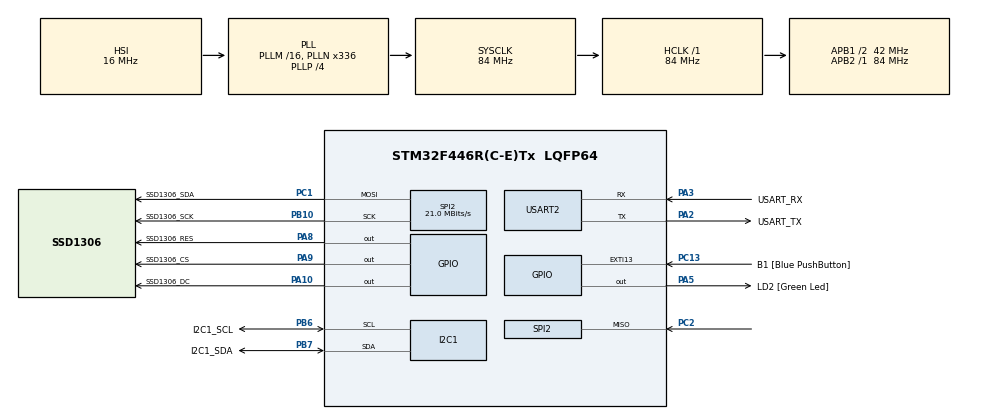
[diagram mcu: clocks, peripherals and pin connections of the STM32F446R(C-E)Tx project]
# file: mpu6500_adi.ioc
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Mcu.Family=STM32F4
Mcu.Name=STM32F446R(C-E)Tx
Mcu.Package=LQFP64
NVIC.PriorityGroup=NVIC_PRIORITYGROUP_0
PA10.GPIO_Label=SSD1306_DC
PA10.Signal=GPIO_Output
PA13.GPIO_Label=TMS
PA13.Mode=Serial_Wire
PA13.Signal=SYS_JTMS-SWDIO
PA14.GPIO_Label=TCK
PA14.Mode=Serial_Wire
PA14.Signal=SYS_JTCK-SWCLK
PA2.GPIO_Label=USART_TX
PA2.Mode=Asynchronous
PA2.Signal=USART2_TX
PA3.GPIO_Label=USART_RX
PA3.Mode=Asynchronous
PA3.Signal=USART2_RX
PA5.GPIO_Label=LD2 [Green Led]
PA5.Signal=GPIO_Output
PA8.GPIO_Label=SSD1306_RES
PA8.Signal=GPIO_Output
PA9.GPIO_Label=SSD1306_CS
PA9.Signal=GPIO_Output
PB10.GPIO_Label=SSD1306_SCK
PB10.Mode=Full_Duplex_Master
PB10.Signal=SPI2_SCK
PB3.GPIO_Label=SWO
PB3.Signal=SYS_JTDO-SWO
PB6.GPIO_Label=I2C1_SCL
PB6.Mode=I2C
PB6.Signal=I2C1_SCL
PB7.GPIO_Label=I2C1_SDA
PB7.Mode=I2C
PB7.Signal=I2C1_SDA
PC1.GPIO_Label=SSD1306_SDA
PC1.Mode=Full_Duplex_Master
PC1.Signal=SPI2_MOSI
PC13.GPIO_Label=B1 [Blue PushButton]
PC13.GPIO_ModeDefaultEXTI=GPIO_MODE_IT_FALLING
PC13.Signal=GPXTI13
PC14-OSC32_IN.Mode=LSE-External-Oscillator
PC14-OSC32_IN.Signal=RCC_OSC32_IN
PC15-OSC32_OUT.Mode=LSE-External-Oscillator
PC15-OSC32_OUT.Signal=RCC_OSC32_OUT
PC2.Mode=Full_Duplex_Master
PC2.Signal=SPI2_MISO
PH0-OSC_IN.Mode=HSE-External-Oscillator
PH0-OSC_IN.Signal=RCC_OSC_IN
PH1-OSC_OUT.Mode=HSE-External-Oscillator
PH1-OSC_OUT.Signal=RCC_OSC_OUT
ProjectManager.HeapSize=0x200
ProjectManager.StackSize=0x400
ProjectManager.TargetToolchain=STM32CubeIDE
RCC.48MHZClocksFreq_Value=84000000
RCC.AHBFreq_Value=84000000
RCC.APB1CLKDivider=RCC_HCLK_DIV2
RCC.APB1Freq_Value=42000000
RCC.APB1TimFreq_Value=84000000
RCC.APB2Freq_Value=84000000
RCC.APB2TimFreq_Value=84000000
RCC.CortexFreq_Value=84000000
RCC.FLatency-AdvancedSettings=FLASH_LATENCY_2
RCC.HCLKFreq_Value=84000000
RCC.HSE_VALUE=8000000
RCC.HSI_VALUE=16000000
RCC.PLLN=336
RCC.PLLP=RCC_PLLP_DIV4
RCC.SYSCLKFreq_VALUE=84000000
RCC.SYSCLKSource=RCC_SYSCLKSOURCE_PLLCLK
RCC.USBFreq_Value=168000000
RCC.VCOOutputFreq_Value=336000000
SPI2.CalculateBaudRate=21.0 MBits/s
SPI2.Direction=SPI_DIRECTION_2LINES
SPI2.Mode=SPI_MODE_MASTER
SPI2.VirtualType=VM_MASTER
USART2.VirtualMode=VM_ASYNC
board=NUCLEO-F446RE

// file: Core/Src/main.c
/* USER CODE BEGIN Header */
/**
  ******************************************************************************
  * @file           : main.c
  * @brief          : Main program body
  ******************************************************************************
  * @attention
  *
  * Copyright (c) 2026 STMicroelectronics.
  * All rights reserved.
  *
  * This software is licensed under terms that can be found in the LICENSE file
  * in the root directory of this software component.
  * If no LICENSE file comes with this software, it is provided AS-IS.
  *
  ******************************************************************************
  */
/* USER CODE END Header */
#include "main.h"

/* USER CODE BEGIN Includes */
#include <stdint.h>
#include "mpu6500.h"
#include "ssd1306.h"
#include "graphics.h"
#include "i2c_recovery.h"
#include "attitude.h"
#include "adi.h"
/* USER CODE END Includes */

I2C_HandleTypeDef hi2c1;

SPI_HandleTypeDef hspi2;

UART_HandleTypeDef huart2;

void SystemClock_Config(void);
static void MX_GPIO_Init(void);
static void MX_I2C1_Init(void);
static void MX_SPI2_Init(void);
static void MX_USART2_UART_Init(void);

int main(void)
{

  /* MCU Configuration--------------------------------------------------------*/

  /* Reset of all peripherals, Initializes the Flash interface and the Systick. */
  HAL_Init();

  /* Configure the system clock */
  SystemClock_Config();

  /* Initialize all configured peripherals */
  MX_GPIO_Init();
  MX_I2C1_Init();
  MX_SPI2_Init();
  MX_USART2_UART_Init();
  /* USER CODE BEGIN 2 */
  mpu6500_t imu1;
  ssd1306_spi_t display1;
  attitude_t attitude1;
  adi_t adi1;
  vec3f_t accel1;
  vec3f_t gyro1;

  display1.config.handle = &hspi2;

  display1.config.rst_pin = SSD1306_RES_Pin;
  display1.config.rst_port = SSD1306_RES_GPIO_Port;

  display1.config.dc_pin = SSD1306_DC_Pin;
  display1.config.dc_port = SSD1306_DC_GPIO_Port;

  display1.config.cs_pin = SSD1306_CS_Pin;
  display1.config.cs_port = SSD1306_CS_GPIO_Port;

  attitude1.orientation.sign_x = IMU_POSITIVE_SIGN;
  attitude1.orientation.sign_y = IMU_POSITIVE_SIGN;
  attitude1.orientation.sign_z = IMU_POSITIVE_SIGN;

  attitude1.orientation.body_x = IMU_AXIS_X;
  attitude1.orientation.body_y = IMU_AXIS_Y;
  attitude1.orientation.body_z = IMU_AXIS_Z;

  adi1.pitch_alpha = 0.20f;
  adi1.roll_alpha = 0.15f;
  adi1.initialized = false;

  volatile HAL_StatusTypeDef init_status = mpu6500_init(&imu1, &hi2c1, 0x68);
  if (init_status != HAL_OK){
	  i2c_bus_recover(
	       &hi2c1,
	       I2C1_SCL_GPIO_Port,
		   I2C1_SCL_Pin,
	       I2C1_SDA_GPIO_Port,
		   I2C1_SDA_Pin
	  );
  }

  volatile HAL_StatusTypeDef calib_status = mpu6050_calibrate_gyro(&imu1,
		  MPU6500_DEFAULT_CALIBRATION_SAMPLES,
		  MPU6500_DEFAULT_CALIBRATION_DELAY);

  ssd1306_init(&display1);

  uint32_t initial_time = HAL_GetTick();

  /* USER CODE END 2 */

  /* Infinite loop */
  while (1)
  {

    /* USER CODE BEGIN 3 */
	  volatile HAL_StatusTypeDef read_status = mpu6500_read_data(&imu1);

	  accel1.x = imu1.data.accel_x_g;
	  accel1.y = imu1.data.accel_y_g;
	  accel1.z = imu1.data.accel_z_g;

	  gyro1.x = imu1.data.gyro_x_dps;
	  gyro1.y = imu1.data.gyro_y_dps;
	  gyro1.z = imu1.data.gyro_z_dps;

	  uint32_t current_time = HAL_GetTick();
	  float dt = ((float)(current_time - initial_time)) / 1000.0f;
	  initial_time = current_time;

	  attitude_compute_pitch_roll(&attitude1, accel1, gyro1, dt);

	  adi_draw_128x64(&adi1, &display1, &attitude1, ADI_DEFAULT_PIXELS_PER_DEG);

  }
  /* USER CODE END 3 */
}

void SystemClock_Config(void)
{
  RCC_OscInitTypeDef RCC_OscInitStruct = {0};
  RCC_ClkInitTypeDef RCC_ClkInitStruct = {0};

  /** Configure the main internal regulator output voltage
  */
  __HAL_RCC_PWR_CLK_ENABLE();
  __HAL_PWR_VOLTAGESCALING_CONFIG(PWR_REGULATOR_VOLTAGE_SCALE3);

  /** Initializes the RCC Oscillators according to the specified parameters
  * in the RCC_OscInitTypeDef structure.
  */
  RCC_OscInitStruct.OscillatorType = RCC_OSCILLATORTYPE_HSI;
  RCC_OscInitStruct.HSIState = RCC_HSI_ON;
  RCC_OscInitStruct.HSICalibrationValue = RCC_HSICALIBRATION_DEFAULT;
  RCC_OscInitStruct.PLL.PLLState = RCC_PLL_ON;
  RCC_OscInitStruct.PLL.PLLSource = RCC_PLLSOURCE_HSI;
  RCC_OscInitStruct.PLL.PLLM = 16;
  RCC_OscInitStruct.PLL.PLLN = 336;
  RCC_OscInitStruct.PLL.PLLP = RCC_PLLP_DIV4;
  RCC_OscInitStruct.PLL.PLLQ = 2;
  RCC_OscInitStruct.PLL.PLLR = 2;
  if (HAL_RCC_OscConfig(&RCC_OscInitStruct) != HAL_OK)
  {
    Error_Handler();
  }

  /** Initializes the CPU, AHB and APB buses clocks
  */
  RCC_ClkInitStruct.ClockType = RCC_CLOCKTYPE_HCLK|RCC_CLOCKTYPE_SYSCLK
                              |RCC_CLOCKTYPE_PCLK1|RCC_CLOCKTYPE_PCLK2;
  RCC_ClkInitStruct.SYSCLKSource = RCC_SYSCLKSOURCE_PLLCLK;
  RCC_ClkInitStruct.AHBCLKDivider = RCC_SYSCLK_DIV1;
  RCC_ClkInitStruct.APB1CLKDivider = RCC_HCLK_DIV2;
  RCC_ClkInitStruct.APB2CLKDivider = RCC_HCLK_DIV1;

  if (HAL_RCC_ClockConfig(&RCC_ClkInitStruct, FLASH_LATENCY_2) != HAL_OK)
  {
    Error_Handler();
  }
}

static void MX_I2C1_Init(void)
{

  hi2c1.Instance = I2C1;
  hi2c1.Init.ClockSpeed = 100000;
  hi2c1.Init.DutyCycle = I2C_DUTYCYCLE_2;
  hi2c1.Init.OwnAddress1 = 0;
  hi2c1.Init.AddressingMode = I2C_ADDRESSINGMODE_7BIT;
  hi2c1.Init.DualAddressMode = I2C_DUALADDRESS_DISABLE;
  hi2c1.Init.OwnAddress2 = 0;
  hi2c1.Init.GeneralCallMode = I2C_GENERALCALL_DISABLE;
  hi2c1.Init.NoStretchMode = I2C_NOSTRETCH_DISABLE;
  if (HAL_I2C_Init(&hi2c1) != HAL_OK)
  {
    Error_Handler();
  }

}

static void MX_SPI2_Init(void)
{

  /* SPI2 parameter configuration*/
  hspi2.Instance = SPI2;
  hspi2.Init.Mode = SPI_MODE_MASTER;
  hspi2.Init.Direction = SPI_DIRECTION_2LINES;
  hspi2.Init.DataSize = SPI_DATASIZE_8BIT;
  hspi2.Init.CLKPolarity = SPI_POLARITY_LOW;
  hspi2.Init.CLKPhase = SPI_PHASE_1EDGE;
  hspi2.Init.NSS = SPI_NSS_SOFT;
  hspi2.Init.BaudRatePrescaler = SPI_BAUDRATEPRESCALER_2;
  hspi2.Init.FirstBit = SPI_FIRSTBIT_MSB;
  hspi2.Init.TIMode = SPI_TIMODE_DISABLE;
  hspi2.Init.CRCCalculation = SPI_CRCCALCULATION_DISABLE;
  hspi2.Init.CRCPolynomial = 10;
  if (HAL_SPI_Init(&hspi2) != HAL_OK)
  {
    Error_Handler();
  }

}

static void MX_USART2_UART_Init(void)
{

  huart2.Instance = USART2;
  huart2.Init.BaudRate = 115200;
  huart2.Init.WordLength = UART_WORDLENGTH_8B;
  huart2.Init.StopBits = UART_STOPBITS_1;
  huart2.Init.Parity = UART_PARITY_NONE;
  huart2.Init.Mode = UART_MODE_TX_RX;
  huart2.Init.HwFlowCtl = UART_HWCONTROL_NONE;
  huart2.Init.OverSampling = UART_OVERSAMPLING_16;
  if (HAL_UART_Init(&huart2) != HAL_OK)
  {
    Error_Handler();
  }

}

static void MX_GPIO_Init(void)
{
  GPIO_InitTypeDef GPIO_InitStruct = {0};

  /* GPIO Ports Clock Enable */
  __HAL_RCC_GPIOC_CLK_ENABLE();
  __HAL_RCC_GPIOH_CLK_ENABLE();
  __HAL_RCC_GPIOA_CLK_ENABLE();
  __HAL_RCC_GPIOB_CLK_ENABLE();

  /*Configure GPIO pin Output Level */
  HAL_GPIO_WritePin(GPIOA, LD2_Pin|SSD1306_RES_Pin|SSD1306_CS_Pin|SSD1306_DC_Pin, GPIO_PIN_RESET);

  /*Configure GPIO pin : B1_Pin */
  GPIO_InitStruct.Pin = B1_Pin;
  GPIO_InitStruct.Mode = GPIO_MODE_IT_FALLING;
  GPIO_InitStruct.Pull = GPIO_NOPULL;
  HAL_GPIO_Init(B1_GPIO_Port, &GPIO_InitStruct);

  /*Configure GPIO pins : LD2_Pin SSD1306_RES_Pin SSD1306_CS_Pin SSD1306_DC_Pin */
  GPIO_InitStruct.Pin = LD2_Pin|SSD1306_RES_Pin|SSD1306_CS_Pin|SSD1306_DC_Pin;
  GPIO_InitStruct.Mode = GPIO_MODE_OUTPUT_PP;
  GPIO_InitStruct.Pull = GPIO_NOPULL;
  GPIO_InitStruct.Speed = GPIO_SPEED_FREQ_LOW;
  HAL_GPIO_Init(GPIOA, &GPIO_InitStruct);

}

void Error_Handler(void)
{
  __disable_irq();
  while (1)
  {
  }
}
